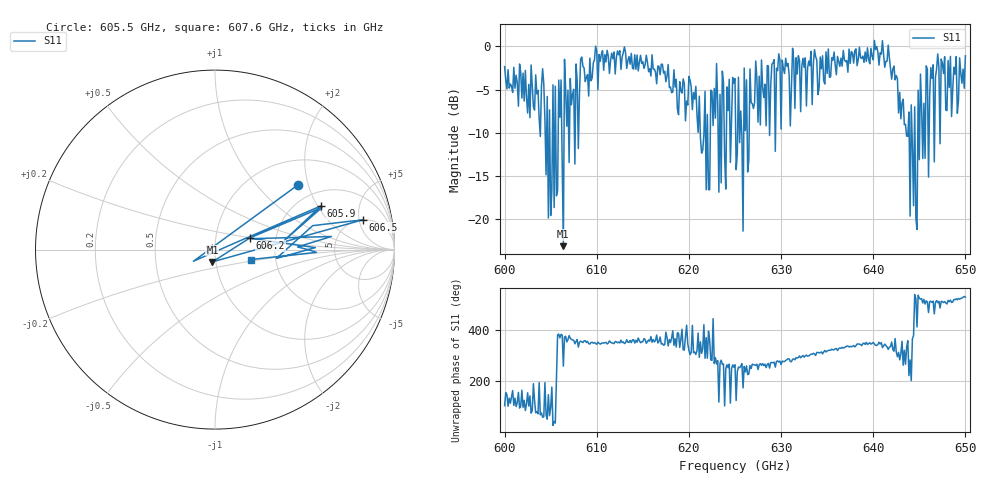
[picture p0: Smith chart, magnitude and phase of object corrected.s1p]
!Created with skrf (http://scikit-rf.org).
# GHz S MA R 50.0
!freq magS11 angS11
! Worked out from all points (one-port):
!   401 points, 600 GHz to 650 GHz, reference 50 ohm
!   lowest |S11| = -23.1 dB at 606.4 GHz (marker M1), VSWR 1.15, Z = 48.1 - j6.63 ohm
!   |S11| at or under -10 dB: 604.9023 GHz to 605.1933 GHz (291 MHz wide, 0.0481 % of centre); 605.5532 GHz to 605.8155 GHz (262.3 MHz wide, 0.0433 % of centre); 621.2346 GHz to 621.6292 GHz (394.6 MHz wide, 0.0635 % of centre) (the widest 3 of 33)
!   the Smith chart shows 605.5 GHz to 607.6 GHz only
!   S11 on the Smith chart (normalised r, x): 605.5 GHz: 1.56, +1.73; 605.9 GHz: 2.61, +2.15; 606.2 GHz: 1.47, +0.20; 606.5 GHz: 4.99, +5.74; 607.6 GHz: 1.49, -0.17
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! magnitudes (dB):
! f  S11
! 600 GHz  -2.3
! 604.1 GHz  -2.6
! 604.8 GHz  -19.8
! 605.5 GHz  -4.6
! 605.9 GHz  -3.9
! 606.2 GHz  -13.8
! 606.4 GHz  -23.1
! 606.5 GHz  -1.5
! 606.8 GHz  -9.2
! 607.6 GHz  -13.6
! 608.5 GHz  -2.3
! 612.5 GHz  -0.5
! 618.8 GHz  -7.2
! 620.2 GHz  -4.7
! 622 GHz  -7.9
! 622.8 GHz  -4.9
! 623.8 GHz  -4.2
! 625 GHz  -3.7
! 625.6 GHz  -7.5
! 627.4 GHz  -3.7
! 631.2 GHz  -0.2
! 637.5 GHz  -2.0
! 641.6 GHz  0.2
! 643.8 GHz  -10.4
! 644.5 GHz  -7.0
! 645.1 GHz  -3.2
! 646 GHz  -15.1
! 650 GHz  -1.1
